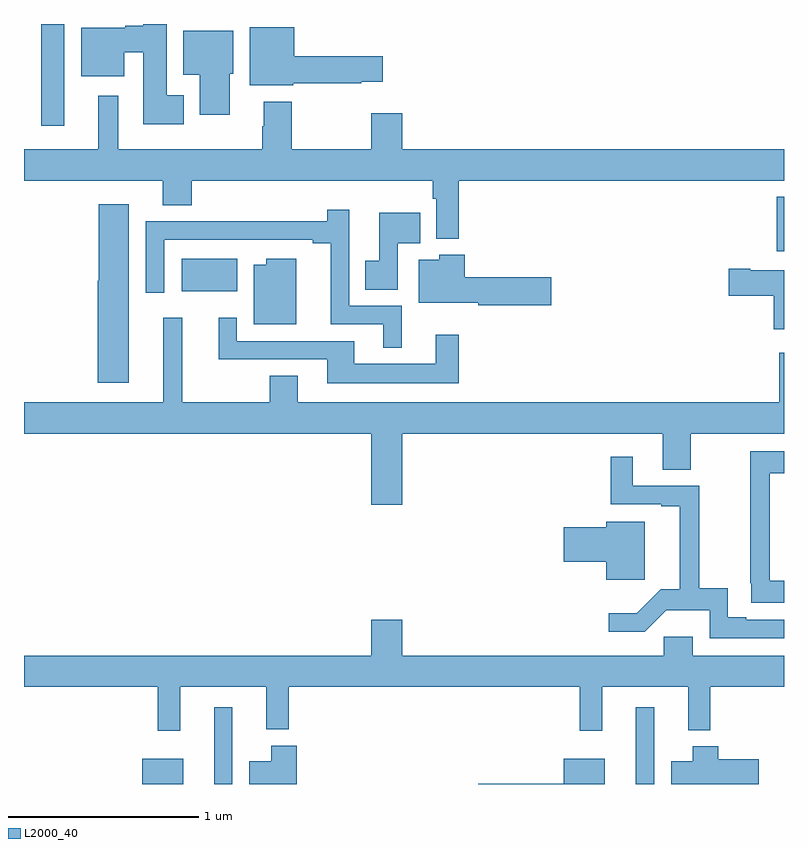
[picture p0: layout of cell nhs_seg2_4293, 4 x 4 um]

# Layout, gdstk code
import gdstk
lib = gdstk.Library(unit=1e-6, precision=1e-09)
def R(c, l, rs):  # rectangles x0, y0, x1, y1
    for r in rs: c.add(gdstk.rectangle(r[:2], r[2:], *l))
def P(c, l, *ps):  # polygons
    for p in ps: c.add(gdstk.Polygon(p, *l))
L2000_40 = (2000, 40)

nhs_seg2_4293 = lib.new_cell('nhs_seg2_4293')
R(nhs_seg2_4293, L2000_40, [(343.622,637.8,343.837,637.933), (344,637.8,344.097,638.203), (346.22,637.8,346.317,638.203), (343.829,640.394,344.122,640.564), (346.961,640.605,347,640.891), (343.092,641.265,343.213,641.8)])
P(nhs_seg2_4293, L2000_40, [(343.84,641.425),(343.75,641.425),(343.75,641.8),(343.628,641.8),(343.628,641.792),(343.532,641.792),(343.532,641.779),(343.301,641.779),(343.301,641.525),(343.528,641.525),(343.528,641.651),(343.628,641.651),(343.628,641.273),(343.84,641.273)],
  [(344.418,641.488),(344.774,641.488),(344.774,641.495),(344.887,641.495),(344.887,641.63),(344.422,641.63),(344.422,641.782),(344.189,641.782),(344.189,641.477),(344.418,641.477)],
  [(344.083,641.538),(344.101,641.538),(344.101,641.764),(343.838,641.764),(343.838,641.534),(343.925,641.534),(343.925,641.322),(344.083,641.322)],
  [(345.287,640.976),(347,640.976),(347,641.14),(344.992,641.14),(344.992,641.329),(344.828,641.329),(344.828,641.14),(344.409,641.14),(344.409,641.392),(344.261,641.392),(344.261,641.261),(344.254,641.261),(344.254,641.14),(343.495,641.14),(343.495,641.422),(343.391,641.422),(343.391,641.14),(343,641.14),(343,640.976),(343.73,640.976),(343.73,640.846),(343.883,640.846),(343.883,640.976),(345.151,640.976),(345.151,640.88),(345.171,640.88),(345.171,640.67),(345.287,640.67)],
  [(343.552,640.852),(343.394,640.852),(343.394,640.449),(343.388,640.449),(343.388,639.912),(343.552,639.912)],
  [(344.989,640.317),(344.712,640.317),(344.712,640.822),(344.596,640.822),(344.596,640.763),(343.966,640.763),(343.966,640.761),(343.641,640.761),(343.641,640.386),(343.737,640.386),(343.737,640.665),(344.519,640.665),(344.519,640.645),(344.615,640.645),(344.615,640.221),(344.891,640.221),(344.891,640.097),(344.989,640.097)],
  [(344.967,640.646),(345.086,640.646),(345.086,640.807),(344.87,640.807),(344.87,640.554),(344.797,640.554),(344.797,640.402),(344.967,640.402)],
  [(345.775,640.466),(345.32,640.466),(345.32,640.585),(345.186,640.585),(345.186,640.558),(345.077,640.558),(345.077,640.334),(345.39,640.334),(345.39,640.319),(345.775,640.319)],
  [(344.434,640.564),(344.276,640.564),(344.276,640.534),(344.21,640.534),(344.21,640.22),(344.434,640.22)],
  [(347,640.504),(346.822,640.504),(346.822,640.512),(346.71,640.512),(346.71,640.37),(346.946,640.37),(346.946,640.194),(347,640.194)],
  [(345.289,640.165),(345.167,640.165),(345.167,640.012),(344.737,640.012),(344.737,640.131),(344.121,640.131),(344.121,640.255),(344.024,640.255),(344.024,640.035),(344.597,640.035),(344.597,639.908),(345.289,639.908)],
  [(344.992,639.644),(346.361,639.644),(346.361,639.454),(346.509,639.454),(346.509,639.644),(347,639.644),(347,640.069),(346.975,640.069),(346.975,639.808),(344.44,639.808),(344.44,639.95),(344.293,639.95),(344.293,639.808),(343.832,639.808),(343.832,640.255),(343.733,640.255),(343.733,639.808),(343,639.808),(343,639.644),(344.828,639.644),(344.828,639.27),(344.992,639.27)],
  [(347,638.87),(346.926,638.87),(346.926,639.153),(346.924,639.153),(346.924,639.436),(347,639.436),(347,639.552),(346.822,639.552),(346.822,638.857),(346.828,638.857),(346.828,638.755),(347,638.755)],
  [(347,638.664),(346.801,638.664),(346.801,638.678),(346.704,638.678),(346.704,638.831),(346.553,638.831),(346.553,639.369),(346.204,639.369),(346.204,639.523),(346.087,639.523),(346.087,639.273),(346.355,639.273),(346.355,639.261),(346.451,639.261),(346.451,638.824),(346.351,638.824),(346.225,638.698),(346.077,638.698),(346.077,638.601),(346.266,638.601),(346.379,638.714),(346.608,638.714),(346.608,638.568),(347,638.568)],
  [(346.267,639.181),(346.064,639.181),(346.064,639.152),(345.84,639.152),(345.84,638.969),(346.064,638.969),(346.064,638.876),(346.267,638.876)],
  [(343.823,638.312),(344.276,638.312),(344.276,638.087),(344.393,638.087),(344.393,638.312),(345.925,638.312),(345.925,638.079),(346.043,638.079),(346.043,638.312),(346.496,638.312),(346.496,638.084),(346.613,638.084),(346.613,638.312),(347,638.312),(347,638.476),(346.519,638.476),(346.519,638.574),(346.368,638.574),(346.368,638.476),(344.992,638.476),(344.992,638.665),(344.828,638.665),(344.828,638.476),(343,638.476),(343,638.312),(343.705,638.312),(343.705,638.079),(343.823,638.079)],
  [(344.435,638.002),(344.3,638.002),(344.3,637.921),(344.186,637.921),(344.186,637.8),(344.435,637.8)],
  [(346.867,637.929),(346.655,637.929),(346.655,637.999),(346.52,637.999),(346.52,637.921),(346.406,637.921),(346.406,637.8),(346.867,637.8)],
  [(346.057,637.933),(345.842,637.933),(345.842,637.802),(345.39,637.802),(345.39,637.8),(346.057,637.8)])

lib.write_gds('nhs_seg2_4293.gds')
